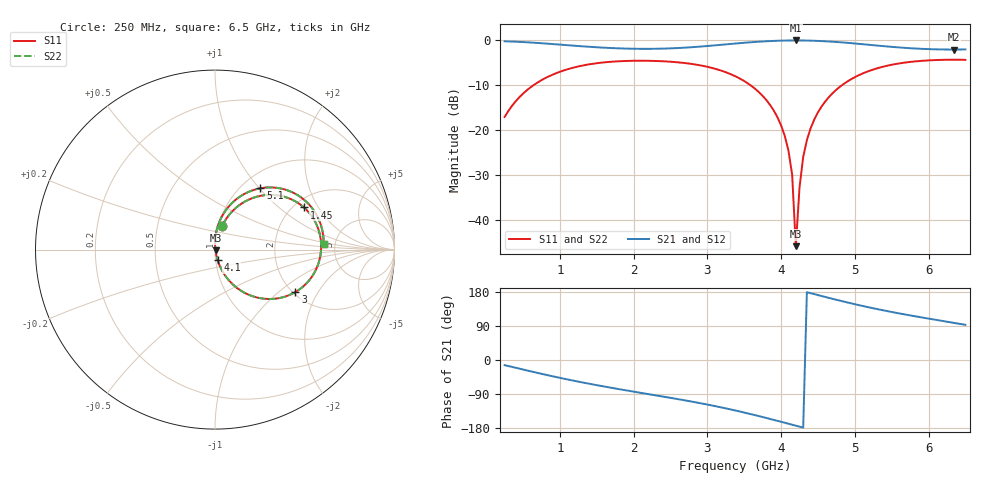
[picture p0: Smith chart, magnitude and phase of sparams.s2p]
! NobuRF kit-ro100-r2-thru: ports 1 "p1", 2 "p2"; 5400 + 5400 steps
# GHz S RI R 50
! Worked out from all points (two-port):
!   126 points, 250 MHz to 6.5 GHz, reference 50 ohm
!   highest |S21| = -0.04 dB at 4.2 GHz (marker M1); lowest = -2.1 dB at 6.35 GHz (marker M2)
!   |S21| within 3 dB of the highest: start of sweep to end of sweep
!   lowest |S11| = -45.8 dB at 4.2 GHz (marker M3), VSWR 1.01, Z = 50.3 - j0.428 ohm
!   |S11| at or under -10 dB: start of sweep to 642 MHz; 3.584 GHz to 4.826 GHz (1.242 GHz wide, 29.5 % of centre)
!   |S22| runs from -45.8 to -4.3 dB; largest |S21 - S12| = 2.8e-07
!   S11 on the Smith chart (normalised r, x): 250 MHz: 1.05, +0.29; 1.45 GHz: 2.26, +1.52; 3 GHz: 2.06, -1.31; 4.1 GHz: 1.02, -0.12; 5.1 GHz: 1.21, +1.01; 6.5 GHz: 4.03, +0.42
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0.25  0.0409 0.1339  0.947 -0.2304  0.947 -0.2304  0.0409 0.1339
0.45  0.095 0.2121  0.8851 -0.3717  0.8851 -0.3717  0.095 0.2121
0.65  0.171 0.2701  0.7972 -0.4967  0.7972 -0.4967  0.171 0.2701
1.3  0.447 0.2693  0.4418 -0.7348  0.4418 -0.7348  0.447 0.2693
1.45  0.4952 0.2352  0.3613 -0.7595  0.3613 -0.7595  0.4952 0.2352
2.35  0.5842 -0.0485  -0.0694 -0.8032  -0.0694 -0.8032  0.5842 -0.0485
3  0.4483 -0.2363  -0.4003 -0.7654  -0.4003 -0.7654  0.4483 -0.2363
3.4  0.2776 -0.2742  -0.6431 -0.6625  -0.6431 -0.6625  0.2776 -0.2742
3.85  0.0795 -0.1739  -0.8915 -0.4065  -0.8915 -0.4065  0.0795 -0.1739
4  0.0344 -0.1077  -0.9474 -0.2886  -0.9474 -0.2886  0.0344 -0.1077
4.1  0.0142 -0.0575  -0.9732 -0.2038  -0.9732 -0.2038  0.0142 -0.0575
4.15  0.00736 -0.0311  -0.9824 -0.1601  -0.9824 -0.1601  0.00736 -0.0311
4.2  0.00283 -0.00425  -0.9889 -0.1159  -0.9889 -0.1159  0.00283 -0.00425
4.25  0.000642 0.023  -0.9928 -0.0713  -0.9928 -0.0713  0.000642 0.023
4.3  0.000808 0.0502  -0.9939 -0.0267  -0.9939 -0.0267  0.000808 0.0502
4.35  0.00332 0.0774  -0.9924 0.0179  -0.9924 0.0179  0.00332 0.0774
4.45  0.0153 0.1303  -0.9816 0.1056  -0.9816 0.1056  0.0153 0.1303
4.7  0.081 0.2452  -0.9132 0.3078  -0.9132 0.3078  0.081 0.2452
5.1  0.2526 0.3416  -0.722 0.5465  -0.722 0.5465  0.2526 0.3416
5.5  0.4263 0.3214  -0.5057 0.6772  -0.5057 0.6772  0.4263 0.3214
6.35  0.6021 0.0839  -0.1066 0.7817  -0.1066 0.7817  0.6021 0.0839
6.5  0.605 0.0332  -0.0392 0.7902  -0.0392 0.7902  0.605 0.0332
